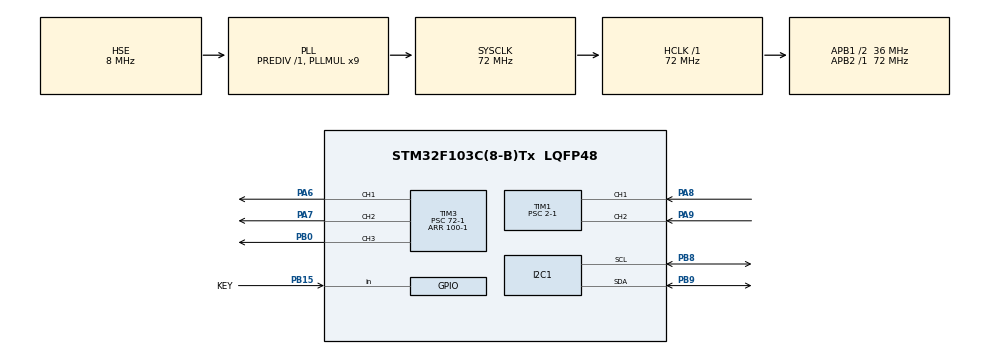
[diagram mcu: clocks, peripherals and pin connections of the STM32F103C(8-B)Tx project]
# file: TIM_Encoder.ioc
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Mcu.Family=STM32F1
Mcu.Name=STM32F103C(8-B)Tx
Mcu.Package=LQFP48
NVIC.PriorityGroup=NVIC_PRIORITYGROUP_4
PA13.Mode=Serial_Wire
PA13.Signal=SYS_JTMS-SWDIO
PA14.Mode=Serial_Wire
PA14.Signal=SYS_JTCK-SWCLK
PA6.Signal=S_TIM3_CH1
PA7.Signal=S_TIM3_CH2
PA8.GPIO_PuPd=GPIO_PULLUP
PA8.Signal=S_TIM1_CH1
PA9.GPIO_PuPd=GPIO_PULLUP
PA9.Signal=S_TIM1_CH2
PB0.Signal=S_TIM3_CH3
PB15.GPIO_Label=KEY
PB15.GPIO_PuPd=GPIO_PULLUP
PB15.Signal=GPIO_Input
PB8.Mode=I2C
PB8.Signal=I2C1_SCL
PB9.Mode=I2C
PB9.Signal=I2C1_SDA
PD0-OSC_IN.Mode=HSE-External-Oscillator
PD0-OSC_IN.Signal=RCC_OSC_IN
PD1-OSC_OUT.Mode=HSE-External-Oscillator
PD1-OSC_OUT.Signal=RCC_OSC_OUT
ProjectManager.HeapSize=0x200
ProjectManager.StackSize=0x400
ProjectManager.TargetToolchain=MDK-ARM V5.32
RCC.AHBFreq_Value=72000000
RCC.APB1CLKDivider=RCC_HCLK_DIV2
RCC.APB1Freq_Value=36000000
RCC.APB1TimFreq_Value=72000000
RCC.APB2Freq_Value=72000000
RCC.APB2TimFreq_Value=72000000
RCC.HCLKFreq_Value=72000000
RCC.PLLMUL=RCC_PLL_MUL9
RCC.PLLSourceVirtual=RCC_PLLSOURCE_HSE
RCC.SYSCLKFreq_VALUE=72000000
RCC.SYSCLKSource=RCC_SYSCLKSOURCE_PLLCLK
RCC.USBFreq_Value=72000000
SH.S_TIM1_CH1.0=TIM1_CH1,Encoder_Interface
SH.S_TIM1_CH2.0=TIM1_CH2,Encoder_Interface
SH.S_TIM3_CH1.0=TIM3_CH1,PWM Generation1 CH1
SH.S_TIM3_CH2.0=TIM3_CH2,PWM Generation2 CH2
SH.S_TIM3_CH3.0=TIM3_CH3,PWM Generation3 CH3
TIM1.IC1Filter=1
TIM1.IC2Filter=1
TIM1.IC2Polarity=TIM_ICPOLARITY_RISING
TIM1.Prescaler=2-1
TIM3.Channel-PWM\ Generation1\ CH1=TIM_CHANNEL_1
TIM3.Channel-PWM\ Generation2\ CH2=TIM_CHANNEL_2
TIM3.Channel-PWM\ Generation3\ CH3=TIM_CHANNEL_3
TIM3.OCMode_PWM-PWM\ Generation1\ CH1=TIM_OCMODE_PWM1
TIM3.Period=100-1
TIM3.Prescaler=72-1
TIM3.Pulse-PWM\ Generation1\ CH1=100
TIM3.Pulse-PWM\ Generation2\ CH2=100
TIM3.Pulse-PWM\ Generation3\ CH3=100
VP_TIM3_VS_ClockSourceINT.Mode=Internal
board=custom

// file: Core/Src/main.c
/* USER CODE BEGIN Header */
/**
  ******************************************************************************
  * @file           : main.c
  * @brief          : Main program body
  ******************************************************************************
  * @attention
  *
  * Copyright (c) 2026 STMicroelectronics.
  * All rights reserved.
  *
  * This software is licensed under terms that can be found in the LICENSE file
  * in the root directory of this software component.
  * If no LICENSE file comes with this software, it is provided AS-IS.
  *
  ******************************************************************************
  */
/* USER CODE END Header */
#include "main.h"
#include "i2c.h"
#include "tim.h"
#include "gpio.h"

/* USER CODE BEGIN Includes */
#include"oled.h"

#include<stdio.h>
/* USER CODE END Includes */

void SystemClock_Config(void);

int main(void)
{

  /* MCU Configuration--------------------------------------------------------*/

  /* Reset of all peripherals, Initializes the Flash interface and the Systick. */
  HAL_Init();

  /* Configure the system clock */
  SystemClock_Config();

  /* Initialize all configured peripherals */
  MX_GPIO_Init();
  MX_TIM1_Init();
  MX_I2C1_Init();
  MX_TIM3_Init();
  /* USER CODE BEGIN 2 */
int chan_index = 0;
uint32_t channels[3] = {TIM_CHANNEL_1,TIM_CHANNEL_2,TIM_CHANNEL_3};

  HAL_Delay(20);
  OLED_Init();
  HAL_TIM_Encoder_Start(&htim1,TIM_CHANNEL_ALL);
  HAL_TIM_PWM_Start(&htim3, TIM_CHANNEL_1);
  HAL_TIM_PWM_Start(&htim3, TIM_CHANNEL_2);
  HAL_TIM_PWM_Start(&htim3, TIM_CHANNEL_3);

  /* USER CODE END 2 */

  /* Infinite loop */
  /* USER CODE BEGIN WHILE */
  while (1)
  {
     int counter = 0;

    // __HAL_TIM_SET_COMPARE(&htim3,TIM_CHANNEL_1,99);
    // __HAL_TIM_SET_COMPARE(&htim3,TIM_CHANNEL_2,99);
    // __HAL_TIM_SET_COMPARE(&htim3,TIM_CHANNEL_3,99);

    OLED_NewFrame();

    counter = __HAL_TIM_GET_COUNTER(&htim1);
    if(counter > 60000)
    {
      counter = 0;
      __HAL_TIM_SET_COUNTER(&htim1, 0);
    }
    else if (counter >100)
    {
      counter = 100;
      __HAL_TIM_SET_COUNTER(&htim1, 100);
    }

    char message[20] = "";
    sprintf(message, "count: %d",counter);
    OLED_PrintString(13,0,message,&font16x16,OLED_COLOR_NORMAL);
    OLED_DrawRectangle(13,25,101,12,OLED_COLOR_NORMAL);
    OLED_DrawFilledRectangle(13,25,counter,12,OLED_COLOR_NORMAL);

    if(HAL_GPIO_ReadPin(KEY_GPIO_Port,KEY_Pin) == RESET)
    {
      HAL_Delay(10);
      if(HAL_GPIO_ReadPin(KEY_GPIO_Port,KEY_Pin) ==  RESET)
      {
        // HAL_TIM_PWM_Stop(&htim3,channels[chan_index]);
        __HAL_TIM_SET_COMPARE(&htim3,channels[chan_index],100);
        chan_index = (chan_index + 1) % 3;
        HAL_TIM_PWM_Start(&htim3,channels[chan_index]);
      }
      while(HAL_GPIO_ReadPin(KEY_GPIO_Port,KEY_Pin) == RESET){}
    }

    __HAL_TIM_SET_COMPARE(&htim3,channels[chan_index],counter);
    // __HAL_TIM_SET_COMPARE(&htim3,TIM_CHANNEL_1,counter);
    // __HAL_TIM_SET_COMPARE(&htim3,TIM_CHANNEL_2,counter);
    // __HAL_TIM_SET_COMPARE(&htim3,TIM_CHANNEL_3,counter);

    OLED_ShowFrame();
    HAL_Delay(100);
    /* USER CODE END WHILE */

  }
}

void SystemClock_Config(void)
{
  RCC_OscInitTypeDef RCC_OscInitStruct = {0};
  RCC_ClkInitTypeDef RCC_ClkInitStruct = {0};

  /** Initializes the RCC Oscillators according to the specified parameters
  * in the RCC_OscInitTypeDef structure.
  */
  RCC_OscInitStruct.OscillatorType = RCC_OSCILLATORTYPE_HSE;
  RCC_OscInitStruct.HSEState = RCC_HSE_ON;
  RCC_OscInitStruct.HSEPredivValue = RCC_HSE_PREDIV_DIV1;
  RCC_OscInitStruct.HSIState = RCC_HSI_ON;
  RCC_OscInitStruct.PLL.PLLState = RCC_PLL_ON;
  RCC_OscInitStruct.PLL.PLLSource = RCC_PLLSOURCE_HSE;
  RCC_OscInitStruct.PLL.PLLMUL = RCC_PLL_MUL9;
  if (HAL_RCC_OscConfig(&RCC_OscInitStruct) != HAL_OK)
  {
    Error_Handler();
  }

  /** Initializes the CPU, AHB and APB buses clocks
  */
  RCC_ClkInitStruct.ClockType = RCC_CLOCKTYPE_HCLK|RCC_CLOCKTYPE_SYSCLK
                              |RCC_CLOCKTYPE_PCLK1|RCC_CLOCKTYPE_PCLK2;
  RCC_ClkInitStruct.SYSCLKSource = RCC_SYSCLKSOURCE_PLLCLK;
  RCC_ClkInitStruct.AHBCLKDivider = RCC_SYSCLK_DIV1;
  RCC_ClkInitStruct.APB1CLKDivider = RCC_HCLK_DIV2;
  RCC_ClkInitStruct.APB2CLKDivider = RCC_HCLK_DIV1;

  if (HAL_RCC_ClockConfig(&RCC_ClkInitStruct, FLASH_LATENCY_2) != HAL_OK)
  {
    Error_Handler();
  }
}

void Error_Handler(void)
{
  __disable_irq();
  while (1)
  {
  }
}
